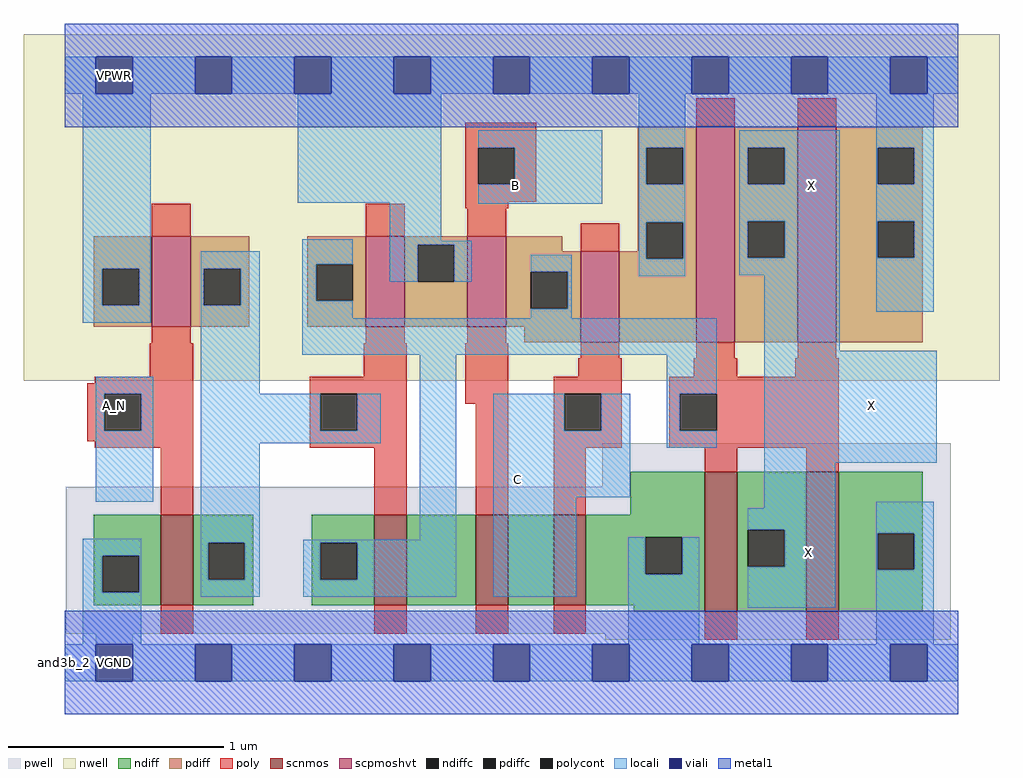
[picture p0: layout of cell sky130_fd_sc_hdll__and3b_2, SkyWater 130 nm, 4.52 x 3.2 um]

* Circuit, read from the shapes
.subckt sky130_fd_sc_hdll__and3b_2 A_N B C VGND VNB VPB VPWR X
XM1 n1 A_N VGND VNB sky130_fd_pr__nfet_01v8 w=0.42 l=0.15
XM2 n2 n1 n3 VNB sky130_fd_pr__nfet_01v8 w=0.42 l=0.15
XM3 n4 B n2 VNB sky130_fd_pr__nfet_01v8 w=0.42 l=0.15
XM4 VGND C n4 VNB sky130_fd_pr__nfet_01v8 w=0.42 l=0.15
XM5 X n3 VGND VNB sky130_fd_pr__nfet_01v8 w=0.65 l=0.15 m=2
XM6 n1 A_N VPWR VPB sky130_fd_pr__pfet_01v8_hvt w=0.42 l=0.18
XM7 VPWR n1 n3 VPB sky130_fd_pr__pfet_01v8_hvt w=0.42 l=0.18
XM8 n3 B VPWR VPB sky130_fd_pr__pfet_01v8_hvt w=0.42 l=0.18
XM9 VPWR C n3 VPB sky130_fd_pr__pfet_01v8_hvt w=0.42 l=0.18
XM10 X n3 VPWR VPB sky130_fd_pr__pfet_01v8_hvt w=1 l=0.18 m=2
.ends

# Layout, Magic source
magic
tech sky130A
magscale 1 2
<< nwell >>
rect -38 261 866 582
<< pwell >>
rect 498 163 821 203
rect 1 27 821 163
rect 29 -17 63 27
rect 501 21 821 27
<< scnmos >>
rect 89 53 119 137
rect 287 53 317 137
rect 381 53 411 137
rect 453 53 483 137
rect 593 47 623 177
rect 687 47 717 177
<< scpmoshvt >>
rect 81 311 117 395
rect 279 311 315 395
rect 373 311 409 395
rect 478 297 514 381
rect 585 297 621 497
rect 679 297 715 497
<< ndiff >>
rect 524 137 593 177
rect 27 99 89 137
rect 27 65 35 99
rect 69 65 89 99
rect 27 53 89 65
rect 119 111 175 137
rect 119 77 133 111
rect 167 77 175 111
rect 119 53 175 77
rect 229 111 287 137
rect 229 77 237 111
rect 271 77 287 111
rect 229 53 287 77
rect 317 53 381 137
rect 411 53 453 137
rect 483 116 593 137
rect 483 82 538 116
rect 572 82 593 116
rect 483 53 593 82
rect 527 47 593 53
rect 623 123 687 177
rect 623 89 633 123
rect 667 89 687 123
rect 623 47 687 89
rect 717 120 795 177
rect 717 86 753 120
rect 787 86 795 120
rect 717 47 795 86
<< pdiff >>
rect 531 477 585 497
rect 531 443 539 477
rect 573 443 585 477
rect 531 408 585 443
rect 27 365 81 395
rect 27 331 35 365
rect 69 331 81 365
rect 27 311 81 331
rect 117 365 171 395
rect 117 331 129 365
rect 163 331 171 365
rect 117 311 171 331
rect 225 369 279 395
rect 225 335 233 369
rect 267 335 279 369
rect 225 311 279 335
rect 315 387 373 395
rect 315 353 327 387
rect 361 353 373 387
rect 315 311 373 353
rect 409 381 461 395
rect 531 381 539 408
rect 409 362 478 381
rect 409 328 432 362
rect 466 328 478 362
rect 409 311 478 328
rect 426 297 478 311
rect 514 374 539 381
rect 573 374 585 408
rect 514 297 585 374
rect 621 477 679 497
rect 621 443 633 477
rect 667 443 679 477
rect 621 409 679 443
rect 621 375 633 409
rect 667 375 679 409
rect 621 297 679 375
rect 715 477 795 497
rect 715 443 753 477
rect 787 443 795 477
rect 715 409 795 443
rect 715 375 753 409
rect 787 375 795 409
rect 715 297 795 375
<< ndiffc >>
rect 35 65 69 99
rect 133 77 167 111
rect 237 77 271 111
rect 538 82 572 116
rect 633 89 667 123
rect 753 86 787 120
<< pdiffc >>
rect 539 443 573 477
rect 35 331 69 365
rect 129 331 163 365
rect 233 335 267 369
rect 327 353 361 387
rect 432 328 466 362
rect 539 374 573 408
rect 633 443 667 477
rect 633 375 667 409
rect 753 443 787 477
rect 753 375 787 409
<< poly >>
rect 371 477 437 500
rect 585 497 621 523
rect 679 497 715 523
rect 371 443 383 477
rect 417 443 437 477
rect 371 427 437 443
rect 81 395 117 425
rect 279 395 315 425
rect 371 421 411 427
rect 373 395 409 421
rect 478 381 514 407
rect 81 296 117 311
rect 279 296 315 311
rect 373 296 409 311
rect 79 265 119 296
rect 277 265 317 296
rect 28 259 119 265
rect 21 249 119 259
rect 21 215 37 249
rect 71 215 119 249
rect 21 205 119 215
rect 28 199 119 205
rect 227 249 317 265
rect 227 215 237 249
rect 271 215 317 249
rect 371 240 411 296
rect 478 282 514 297
rect 585 282 621 297
rect 679 282 715 297
rect 476 265 516 282
rect 583 265 623 282
rect 677 265 717 282
rect 227 199 317 215
rect 89 137 119 199
rect 287 137 317 199
rect 381 137 411 240
rect 453 249 516 265
rect 453 215 463 249
rect 497 215 516 249
rect 453 199 516 215
rect 560 249 717 265
rect 560 215 570 249
rect 604 215 717 249
rect 560 199 717 215
rect 453 137 483 199
rect 593 177 623 199
rect 687 177 717 199
rect 89 27 119 53
rect 287 27 317 53
rect 381 27 411 53
rect 453 27 483 53
rect 593 21 623 47
rect 687 21 717 47
<< polycont >>
rect 383 443 417 477
rect 37 215 71 249
rect 237 215 271 249
rect 463 215 497 249
rect 570 215 604 249
<< locali >>
rect 0 527 29 561
rect 63 527 121 561
rect 155 527 213 561
rect 247 527 305 561
rect 339 527 397 561
rect 431 527 489 561
rect 523 527 581 561
rect 615 527 673 561
rect 707 527 765 561
rect 799 527 828 561
rect 17 365 80 527
rect 216 426 349 527
rect 17 331 35 365
rect 69 331 80 365
rect 17 315 80 331
rect 126 365 181 381
rect 126 331 129 365
rect 163 331 181 365
rect 29 249 82 265
rect 29 215 37 249
rect 71 215 82 249
rect 29 149 82 215
rect 126 249 181 331
rect 220 369 267 392
rect 220 335 233 369
rect 301 391 349 426
rect 383 477 498 493
rect 417 443 498 477
rect 383 425 498 443
rect 532 477 575 527
rect 532 443 539 477
rect 573 443 575 477
rect 532 408 575 443
rect 301 387 377 391
rect 301 353 327 387
rect 361 353 377 387
rect 432 362 470 378
rect 220 319 267 335
rect 466 328 470 362
rect 532 374 539 408
rect 573 374 575 408
rect 532 358 575 374
rect 625 477 718 493
rect 625 443 633 477
rect 667 443 718 477
rect 625 409 718 443
rect 625 375 633 409
rect 667 375 718 409
rect 625 359 718 375
rect 432 319 470 328
rect 220 285 604 319
rect 126 215 237 249
rect 271 215 293 249
rect 126 203 293 215
rect 17 99 71 115
rect 17 65 35 99
rect 69 65 71 99
rect 17 17 71 65
rect 126 111 181 203
rect 329 114 363 285
rect 558 249 604 285
rect 126 77 133 111
rect 167 77 181 111
rect 126 61 181 77
rect 221 111 363 114
rect 221 77 237 111
rect 271 77 363 111
rect 221 61 363 77
rect 397 215 463 249
rect 497 215 524 249
rect 397 153 524 215
rect 558 215 570 249
rect 558 199 604 215
rect 648 289 718 359
rect 752 477 805 527
rect 752 443 753 477
rect 787 443 805 477
rect 752 409 805 443
rect 752 375 753 409
rect 787 375 805 409
rect 752 325 805 375
rect 648 185 808 289
rect 397 61 474 153
rect 648 143 714 185
rect 633 123 714 143
rect 522 82 538 116
rect 572 82 588 116
rect 522 17 588 82
rect 667 89 714 123
rect 633 51 714 89
rect 752 120 805 149
rect 752 86 753 120
rect 787 86 805 120
rect 752 17 805 86
rect 0 -17 29 17
rect 63 -17 121 17
rect 155 -17 213 17
rect 247 -17 305 17
rect 339 -17 397 17
rect 431 -17 489 17
rect 523 -17 581 17
rect 615 -17 673 17
rect 707 -17 765 17
rect 799 -17 828 17
<< viali >>
rect 29 527 63 561
rect 121 527 155 561
rect 213 527 247 561
rect 305 527 339 561
rect 397 527 431 561
rect 489 527 523 561
rect 581 527 615 561
rect 673 527 707 561
rect 765 527 799 561
rect 29 -17 63 17
rect 121 -17 155 17
rect 213 -17 247 17
rect 305 -17 339 17
rect 397 -17 431 17
rect 489 -17 523 17
rect 581 -17 615 17
rect 673 -17 707 17
rect 765 -17 799 17
<< metal1 >>
rect 0 561 828 592
rect 0 527 29 561
rect 63 527 121 561
rect 155 527 213 561
rect 247 527 305 561
rect 339 527 397 561
rect 431 527 489 561
rect 523 527 581 561
rect 615 527 673 561
rect 707 527 765 561
rect 799 527 828 561
rect 0 496 828 527
rect 0 17 828 48
rect 0 -17 29 17
rect 63 -17 121 17
rect 155 -17 213 17
rect 247 -17 305 17
rect 339 -17 397 17
rect 431 -17 489 17
rect 523 -17 581 17
rect 615 -17 673 17
rect 707 -17 765 17
rect 799 -17 828 17
rect 0 -48 828 -17
<< labels >>
flabel metal1 s 29 -17 63 17 0 FreeSans 200 0 0 0 VGND
port 4 nsew ground bidirectional
flabel metal1 s 29 527 63 561 0 FreeSans 200 0 0 0 VPWR
port 7 nsew power bidirectional
flabel locali s 401 425 435 459 0 FreeSans 400 0 0 0 B
port 2 nsew signal input
flabel locali s 672 85 706 119 0 FreeSans 200 0 0 0 X
port 8 nsew signal output
flabel locali s 675 425 709 459 0 FreeSans 200 0 0 0 X
port 8 nsew signal output
flabel locali s 29 221 63 255 0 FreeSans 400 0 0 0 A_N
port 1 nsew signal input
flabel locali s 403 153 437 187 0 FreeSans 400 0 0 0 C
port 3 nsew signal input
flabel locali s 747 238 747 238 0 FreeSans 200 0 0 0 X
port 8 nsew
flabel pwell s 29 -17 63 17 0 FreeSans 200 0 0 0 VNB
port 5 nsew ground bidirectional
flabel nwell s 29 527 63 561 0 FreeSans 200 0 0 0 VPB
port 6 nsew power bidirectional
rlabel comment s 0 0 0 0 4 and3b_2
<< properties >>
string LEFsite unithd
string LEFclass CORE
string FIXED_BBOX 0 0 828 544
string GDS_FILE $PDKPATH/libs.ref/sky130_fd_sc_hdll/gds/sky130_fd_sc_hdll.gds
string LEFsymmetry X Y R90
string GDS_END 1818698
string GDS_START 1811846
string LEFproperties maskLayoutSubType "abstract" prCellType "standard" originalViewName "layout"
<< end >>
